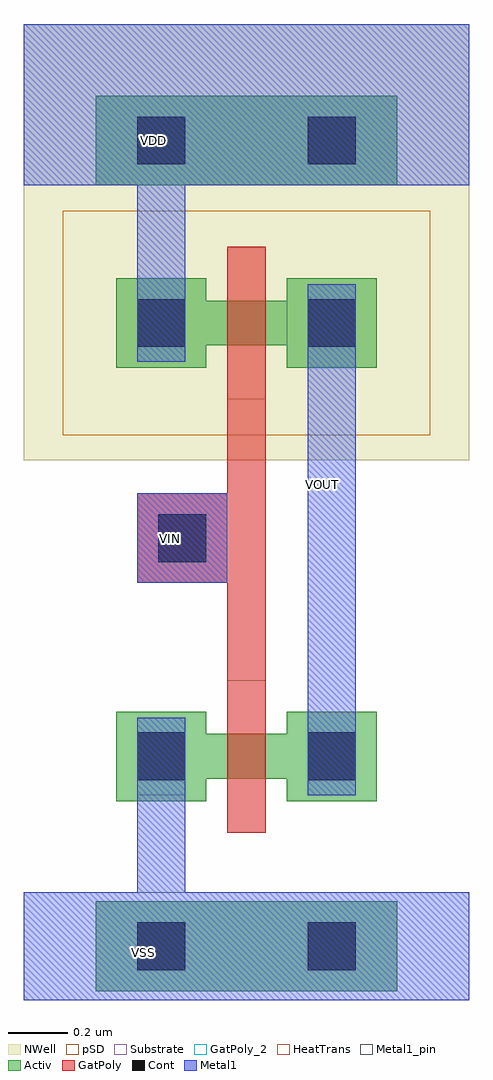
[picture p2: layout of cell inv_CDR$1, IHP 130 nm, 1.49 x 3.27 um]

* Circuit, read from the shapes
.subckt inv_CDR$1 VDD VIN VOUT VSS
XM1 VOUT VIN VSS VSS sg13_lv_nmos w=0.15u l=0.13u
XM2 VOUT VIN VDD VDD sg13_lv_pmos w=0.15u l=0.13u
.ends

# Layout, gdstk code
import gdstk
lib = gdstk.Library(unit=1e-6, precision=1e-09)
def R(c, l, rs):  # rectangles x0, y0, x1, y1
    for r in rs: c.add(gdstk.rectangle(r[:2], r[2:], *l))
Activ = (1, 0)
GatPoly = (5, 0)
GatPoly_2 = (5, 2)
Cont = (6, 0)
Metal1 = (8, 0)
Metal1_pin = (8, 2)
pSD = (14, 0)
NWell = (31, 0)
Substrate = (40, 0)
HeatTrans = (51, 0)

pmos_11_1 = lib.new_cell('pmos$11$1')
R(pmos_11_1, Activ, [(0,0,0.3,0.3), (0.57,0,0.87,0.3), (0,0.075,0.87,0.225)])
R(pmos_11_1, GatPoly, [(0.37,-0.105,0.5,0.405)])
R(pmos_11_1, Cont, [(0.07,0.07,0.23,0.23), (0.64,0.07,0.8,0.23)])
R(pmos_11_1, Metal1, [(0.07,0.02,0.23,0.28), (0.64,0.02,0.8,0.28)])
R(pmos_11_1, pSD, [(-0.18,-0.225,1.05,0.525)])
R(pmos_11_1, NWell, [(-0.31,-0.31,1.18,0.61), (-0.31,-0.31,1.18,0.61), (-0.31,-0.31,1.18,0.61), (-0.31,-0.31,1.18,0.61), (-0.31,-0.31,1.18,0.61), (-0.31,-0.31,1.18,0.61)])
R(pmos_11_1, Substrate, [(0.57,0,0.87,0.3), (0.57,0,0.87,0.3), (0.57,0,0.87,0.3), (0.57,0,0.87,0.3), (0.57,0,0.87,0.3), (0.57,0,0.87,0.3)])
R(pmos_11_1, HeatTrans, [(0.37,-0.105,0.5,0.405)])
pmos_11_1.add(gdstk.Label('pmos', (0.435,0.15), layer=63, texttype=0))
pmos_11_1.add(gdstk.Label('pmos', (0.435,0.15), layer=63, texttype=0))
pmos_11_1.add(gdstk.Label('pmos', (0.435,0.15), layer=63, texttype=0))
pmos_11_1.add(gdstk.Label('pmos', (0.435,0.15), layer=63, texttype=0))
pmos_11_1.add(gdstk.Label('pmos', (0.435,0.15), layer=63, texttype=0))
pmos_11_1.add(gdstk.Label('pmos', (0.435,0.15), layer=63, texttype=0))

nmos_19_1 = lib.new_cell('nmos$19$1')
R(nmos_19_1, Activ, [(0,0,0.3,0.3), (0.57,0,0.87,0.3), (0,0.075,0.87,0.225)])
R(nmos_19_1, GatPoly, [(0.37,-0.105,0.5,0.405)])
R(nmos_19_1, GatPoly_2, [(0.37,-0.105,0.5,0.405)])
R(nmos_19_1, Cont, [(0.07,0.07,0.23,0.23), (0.64,0.07,0.8,0.23)])
R(nmos_19_1, Metal1, [(0.07,0.02,0.23,0.28), (0.64,0.02,0.8,0.28)])
R(nmos_19_1, Metal1_pin, [(0.07,0.02,0.23,0.28), (0.64,0.02,0.8,0.28)])
R(nmos_19_1, HeatTrans, [(0.37,-0.105,0.5,0.405)])
nmos_19_1.add(gdstk.Label('nmos', (0.435,0.15), layer=63, texttype=0))
nmos_19_1.add(gdstk.Label('nmos', (0.435,0.15), layer=63, texttype=0))
nmos_19_1.add(gdstk.Label('nmos', (0.435,0.15), layer=63, texttype=0))
nmos_19_1.add(gdstk.Label('nmos', (0.435,0.15), layer=63, texttype=0))
nmos_19_1.add(gdstk.Label('nmos', (0.435,0.15), layer=63, texttype=0))
nmos_19_1.add(gdstk.Label('nmos', (0.435,0.15), layer=63, texttype=0))

inv_cdr_1 = lib.new_cell('inv_CDR$1')
R(inv_cdr_1, Activ, [(0.48,-0.04,1.49,0.26), (0.48,2.655,1.49,2.955)])
R(inv_cdr_1, GatPoly, [(0.92,0.76,1.05,2.45), (0.62,1.325,0.92,1.625)])
R(inv_cdr_1, Cont, [(0.62,0.03,0.78,0.19), (1.19,0.03,1.35,0.19), (0.69,1.395,0.85,1.555), (0.62,2.725,0.78,2.885), (1.19,2.725,1.35,2.885)])
R(inv_cdr_1, Metal1, [(0.24,-0.07,1.73,0.29), (0.62,-0.04,0.78,0.875), (1.19,0.615,1.35,2.325), (0.62,1.325,0.92,1.625), (0.62,2.065,0.78,2.955), (0.24,2.655,1.73,3.195)])
R(inv_cdr_1, Metal1_pin, [(0.24,-0.07,1.73,0.29), (1.19,0.615,1.35,2.325), (0.62,1.325,0.92,1.625), (0.24,2.655,1.73,3.195)])
R(inv_cdr_1, pSD, [(0.24,-0.07,1.73,0.29)])
R(inv_cdr_1, NWell, [(0.24,2.655,1.73,3.195), (0.24,2.655,1.73,3.195), (0.24,2.655,1.73,3.195), (0.24,2.655,1.73,3.195), (0.24,2.655,1.73,3.195)])
inv_cdr_1.add(gdstk.Reference(pmos_11_1, (0.55,2.045)))
inv_cdr_1.add(gdstk.Reference(nmos_19_1, (0.55,0.595)))
inv_cdr_1.add(gdstk.Label('VOUT', (1.24,1.655), layer=8, texttype=25))
inv_cdr_1.add(gdstk.Label('VDD', (0.675,2.805), layer=8, texttype=25))
inv_cdr_1.add(gdstk.Label('VIN', (0.73,1.475), layer=8, texttype=25))
inv_cdr_1.add(gdstk.Label('VSS', (0.64,0.09), layer=8, texttype=25))

lib.write_gds('inv_CDR_1.gds')
